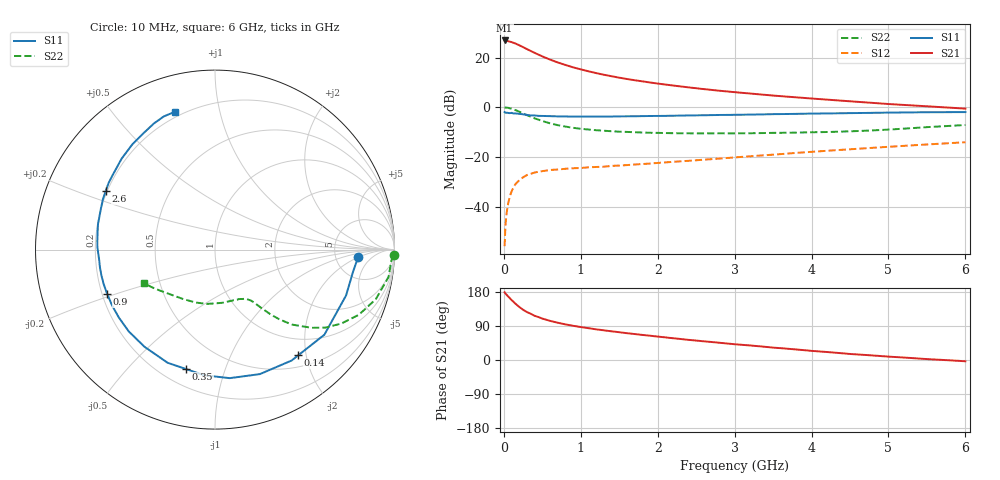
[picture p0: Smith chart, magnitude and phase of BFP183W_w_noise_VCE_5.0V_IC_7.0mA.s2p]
! Infineon Technologies  Discrete & RF Semiconductors
! BFP183W
! VCE =  5.0 V,  IC =  7.0 mA
! Common Emitter S-Parameters:  Jan 2017
# GHz  S  MA  R  50
!  f  S11  S21  S12  S22
! GHz  MAG  ANG  MAG  ANG  MAG  ANG  MAG  ANG
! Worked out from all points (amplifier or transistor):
!   77 points, 10 MHz to 6 GHz, reference 50 ohm
!   highest |S21| = 26.9 dB at 10 MHz (marker M1)
!   |S21| within 3 dB of that: start of sweep to 269.6 MHz
!   unconditionally stable (mu >= 1): 1.928 GHz to 4.16 GHz
!   at 130 MHz: K = 0.11, MSG = 29.0 dB, |S12| = -32.0 dB
!   at 2.2 GHz: K = 1.04, MAG = 14.1 dB, |S12| = -22.0 dB
!   at 6 GHz: K = 0.84, MSG = 6.8 dB, |S12| = -14.1 dB
!   lowest NFmin = 0.82 dB at 450 MHz
!   S11 on the Smith chart (normalised r, x): 10 MHz: 8.43, -2.00; 140 MHz: 0.69, -1.86; 350 MHz: 0.30, -0.74; 900 MHz: 0.22, -0.19; 2.6 GHz: 0.19, +0.24; 6 GHz: 0.17, +0.74
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0.01  0.7982 -3.1  22.11 178.7  0.0016 74.1  0.9962 -1.8
0.02  0.779 -9.1  21.8 175.6  0.0039 100.0  0.9843 -3.6
0.05  0.7736 -19.3  21.52 169.0  0.0103 81.3  0.9793 -8.9
0.1  0.7721 -37.9  20.55 158.3  0.0202 73.0  0.9379 -17.1
0.14  0.7496 -51.8  19.44 150.7  0.0266 65.4  0.89 -22.9
0.2  0.7373 -70.2  17.7 140.0  0.034 57.5  0.816 -30.3
0.25  0.7209 -83.5  16.23 132.6  0.039 52.3  0.7538 -35.2
0.3  0.7027 -94.9  14.8 126.5  0.0432 47.6  0.694 -38.9
0.35  0.6848 -103.7  13.57 122.0  0.0458 44.3  0.6459 -41.4
0.4  0.6835 -112.7  12.45 116.6  0.0486 41.4  0.5991 -44.2
0.5  0.6689 -126.0  10.56 109.3  0.0518 37.5  0.5281 -47.3
0.6  0.6623 -136.5  9.127 103.3  0.0546 35.2  0.4756 -49.4
0.7  0.6559 -144.8  7.981 98.4  0.0558 34.1  0.4365 -50.7
0.9  0.6494 -157.6  6.367 90.3  0.0592 33.4  0.3862 -52.7
1.1  0.649 -167.1  5.296 84.0  0.0618 33.9  0.3566 -54.2
1.5  0.6555 178.8  3.94 73.3  0.0671 36.5  0.3226 -58.3
2.1  0.6714 162.7  2.866 59.7  0.0777 40.9  0.3028 -67.7
2.6  0.6906 151.9  2.319 49.3  0.0881 43.8  0.2983 -78.0
3.1  0.7079 142.5  1.951 40.0  0.1005 45.6  0.2992 -88.9
4.1  0.7484 126.6  1.462 22.6  0.1299 46.1  0.3154 -112.6
5.1  0.7832 114.9  1.138 7.7  0.1635 43.5  0.3629 -138.3
6  0.7997 106.2  0.939 -3.4  0.1976 39.2  0.4399 -154.8
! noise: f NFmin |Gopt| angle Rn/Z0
0.45  0.82  0.16  68  0.11
0.9  0.91  0.21  112  0.1
1.9  1.45  0.39  172  0.07
2.4  1.71  0.45  -173  0.09
